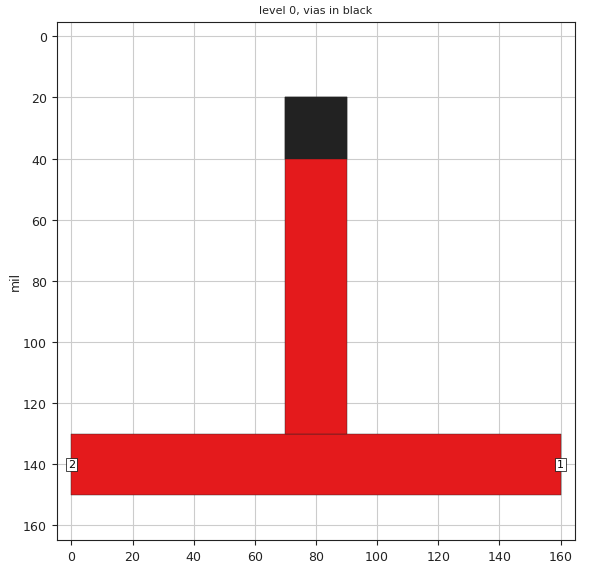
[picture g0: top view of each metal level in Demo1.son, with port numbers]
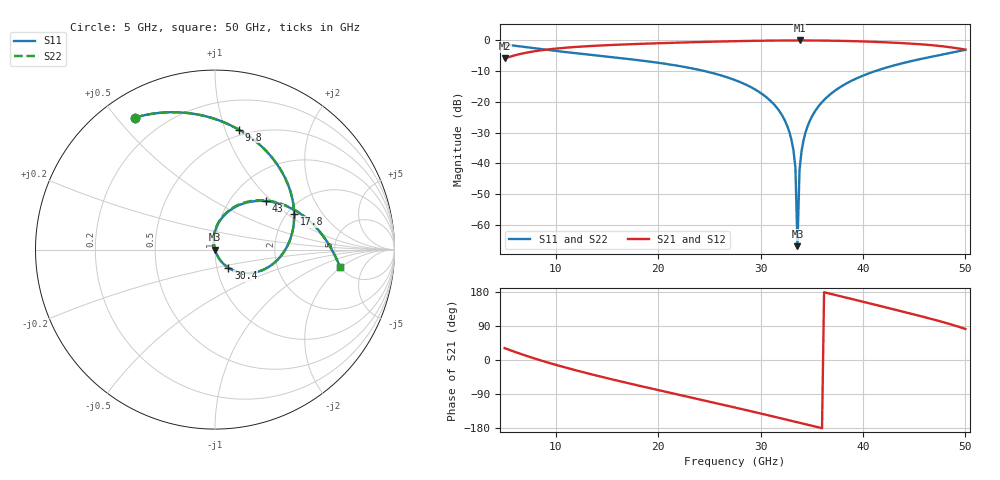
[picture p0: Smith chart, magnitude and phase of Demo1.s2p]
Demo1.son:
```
FTYP SONPROJ 13 ! Sonnet Project File
VER 15.52
HEADER
DAT 8/2/2018 0:29:25
BUILT_BY_CREATED Sonnet Matlab Interface v8.0
BUILT_BY_SAVED Sonnet Matlab Interface v8.0
MDATE 8/2/2018 0:26:57
HDATE 8/2/2018 0:26:57
END HEADER
DIM
FREQ GHZ
IND NH
LNG MIL
ANG DEG
CON /OH
CAP PF
RES OH
END DIM
FREQ
ABS 5 50
END FREQ
CONTROL
ABS
OPTIONS -d
SPEED 0
CACHE_ABS 1
TARG_ABS 300
Q_ACC N
END CONTROL
GEO
TMET Lossless 0 SUP 0 0 0 0
BMET Lossless 0 SUP 0 0 0 0
BOX 1 160 160 32 32 20 0
      50 1 1 0 0 0 0 "Unnamed" 
      5 1 1 0 0 0 0 "Unnamed" 
POR1 STD
POLY 1 1
1
1 50 0 0 0 160 140
POR1 STD
POLY 1 1
3
2 50 0 0 0 0 140
NUM 3
0 5 -1 N 1 1 1 100 100 0 0 0 Y
0 130
160 130
160 150
0 150
0 130
END
0 5 -1 N 5 1 1 100 100 0 0 0 Y
70 130
90 130
90 20
70 20
70 130
END
VIA POLYGON
0 5 -1 N 19 1 1 100 100 0 0 0 Y
TOLEVEL 1 RING NOCOVERS
70 20
90 20
90 40
70 40
70 20
END
END GEO
OPT
MAX 100
VARS
END
END OPT
VARSWP
END VARSWP
FILEOUT
TS D Y $BASENAME.s2p IC 8 S MA R 50
END FILEOUT
SMDFILES
END SMDFILES
```
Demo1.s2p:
! Sonnet Data File
! From: em Version : 14.52
! From Project: Demo1
! Data is De-embedded
! Data File Written: 08/02/2018 00:29:28
!< HDATE 8/2/2018 0:26:57
!< MDATE 8/2/2018 0:26:57
# GHZ S MA R 50.00000
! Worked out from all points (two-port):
!   226 points, 5 GHz to 50 GHz, reference 50 ohm
!   highest |S21| = 0.00 dB at 33.8 GHz (marker M1); lowest = -5.9 dB at 5 GHz (marker M2)
!   |S21| within 3 dB of the highest: 9.033 GHz to end of sweep
!   lowest |S11| = -66.9 dB at 33.6 GHz (marker M3), VSWR 1.00, Z = 50 - j0.0434 ohm
!   |S11| at or under -10 dB: 24.58 GHz to 41.17 GHz (16.58 GHz wide, 50.4 % of centre)
!   |S22| runs from -66.9 to -1.3 dB; largest |S21 - S12| = 0
!   S11 on the Smith chart (normalised r, x): 5 GHz: 0.10, +0.56; 9.8 GHz: 0.45, +1.12; 17.8 GHz: 2.18, +1.13; 30.4 GHz: 1.14, -0.23; 43 GHz: 1.44, +0.92; 50 GHz: 4.97, -1.97
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5  0.8608 121.3  0.509 31.3  0.509 31.3  0.8608 121.3
!< P1 F=5.0 Eeff=(1.00008652 0.0) Z0=(58.6624352 0.0) R=0.0 C=0.01075684
!< P2 F=5.0 Eeff=(1.00008652 0.0) Z0=(58.6624352 0.0) R=0.0 C=0.01075684
9.8  0.6816 78.8  0.7317 -11.2  0.7317 -11.2  0.6816 78.8
17.8  0.4836 24.2  0.8754 -65.8  0.8754 -65.8  0.4836 24.2
27.6  0.2236 -36.1  0.9746 -126.1  0.9746 -126.1  0.2238 -36.0
30.4  0.1254 -53.7  0.992 -143.7  0.992 -143.7  0.1256 -53.5
33  0.02473 -70.3  0.9997 -160.3  0.9997 -160.3  0.02478 -70.1
33.6  0.0004505 -74.2  1 -164.2  1 -164.2  0.0004505 -74.2
33.8  0.007716 104.6  1 -165.5  1 -165.5  0.007767 105.4
36  0.09925 90.2  0.9957 -179.9  0.9957 -179.9  0.09995 91.0
43  0.3915 43.7  0.9203 133.8  0.9203 133.8  0.3931 44.2
50  0.7049 -8.1  0.7093 81.9  0.7093 81.9  0.7049 -8.1
